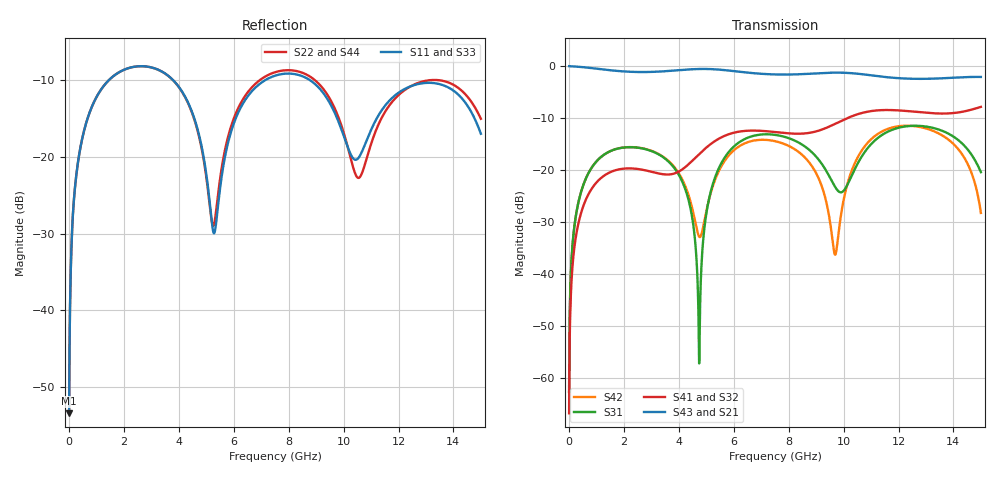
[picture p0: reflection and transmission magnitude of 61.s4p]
! Created with skrf 1.8.0 (http://scikit-rf.org).
# GHz S RI R 50.0
!freq ReS11 ImS11 ReS12 ImS12 ReS13 ImS13
! ReS14 ImS14
! ReS21 ImS21 ReS22 ImS22 ReS23 ImS23
! ReS24 ImS24
! ReS31 ImS31 ReS32 ImS32 ReS33 ImS33
! ReS34 ImS34
! ReS41 ImS41 ReS42 ImS42 ReS43 ImS43
! ReS44 ImS44
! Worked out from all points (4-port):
!   2499 points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, 5 MHz to 15 GHz, reference 50 ohm
!   strongest paths, dB at 5 MHz, 3.476 GHz, 7.19 GHz, 11.1 GHz, 15 GHz:
!     S43: 0.0, -1.0, -1.5, -1.8, -2.1
!     S21: 0.0, -1.0, -1.5, -1.8, -2.1
!     S41: -66.8, -20.8, -12.5, -8.6, -7.8
!     S32: -66.8, -20.9, -12.6, -8.6, -7.8
!     S31: -62.7, -17.7, -13.1, -14.5, -20.4
!     S42: -62.7, -17.6, -14.2, -13.6, -28.3
!   lowest |S11| = -53.4 dB at 5 MHz (marker M1), VSWR 1.00, Z = 50.2 + j0.129 ohm
!   |S11| at or under -10 dB: start of sweep to 1.456 GHz; 3.789 GHz to 7.153 GHz (3.365 GHz wide, 61.5 % of centre); 8.769 GHz to end of sweep
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0.005  0.0017 0.00129  0.9983 -0.00331  8.75e-05 0.000726  -8.47e-05 -0.000447
       0.9983 -0.00331  0.0017 0.00129  -8.47e-05 -0.000447  8.75e-05 0.000726
       8.75e-05 0.000726  -8.47e-05 -0.000447  0.0017 0.00129  0.9983 -0.00331
       -8.47e-05 -0.000447  8.75e-05 0.000726  0.9983 -0.00331  0.0017 0.00129
0.3626511  0.0323 0.096  0.9554 -0.2366  0.0164 0.0487  -0.0135 -0.0293
           0.9554 -0.2366  0.0323 0.096  -0.0135 -0.0293  0.0164 0.0487
           0.0164 0.0487  -0.0135 -0.0293  0.0323 0.096  0.9554 -0.2366
           -0.0135 -0.0293  0.0164 0.0487  0.9554 -0.2366  0.0323 0.096
1.619545  0.2926 0.1643  0.4941 -0.7585  0.1448 0.0585  -0.098 0.00372
          0.4941 -0.7585  0.2925 0.1643  -0.0979 0.00367  0.1453 0.0577
          0.1448 0.0585  -0.0979 0.00367  0.2925 0.1642  0.4942 -0.7585
          -0.098 0.00372  0.1453 0.0577  0.4942 -0.7585  0.2923 0.1643
4.745727  0.0671 -0.119  -0.8632 -0.3665  0.00123 0.000799  -0.0515 0.1331
          -0.8632 -0.3665  0.0685 -0.1145  -0.0519 0.1329  -0.0212 -0.00831
          0.00123 0.000799  -0.0519 0.1329  0.0669 -0.1183  -0.8632 -0.3666
          -0.0515 0.1331  -0.0212 -0.00831  -0.8632 -0.3666  0.0681 -0.1139
5.996248  0.1065 0.1244  -0.8312 0.3324  0.1212 0.1154  0.1142 0.1975
          -0.8312 0.3324  0.1184 0.1308  0.1135 0.1977  0.0819 0.1305
          0.1212 0.1154  0.1135 0.1977  0.107 0.1241  -0.8315 0.3319
          0.1142 0.1975  0.0819 0.1305  -0.8315 0.3319  0.1175 0.131
10.54815  0.0982 0.00897  0.8317 0.1339  -0.0207 0.1183  0.0436 -0.3438
          0.8317 0.1339  0.0722 -0.00942  0.0475 -0.344  0.0121 0.137
          -0.0207 0.1183  0.0475 -0.344  0.0917 0.0149  0.8318 0.1343
          0.0436 -0.3438  0.0121 0.137  0.8318 0.1343  0.0765 -0.00322
15  0.1134 -0.0843  -0.5501 -0.5608  -0.0269 -0.0915  -0.2744 0.298
    -0.5501 -0.5608  0.1347 -0.1146  -0.2755 0.2972  0.0207 -0.0326
    -0.0269 -0.0915  -0.2755 0.2972  0.1188 -0.0722  -0.547 -0.5649
    -0.2744 0.298  0.0207 -0.0326  -0.547 -0.5649  0.1243 -0.1181
